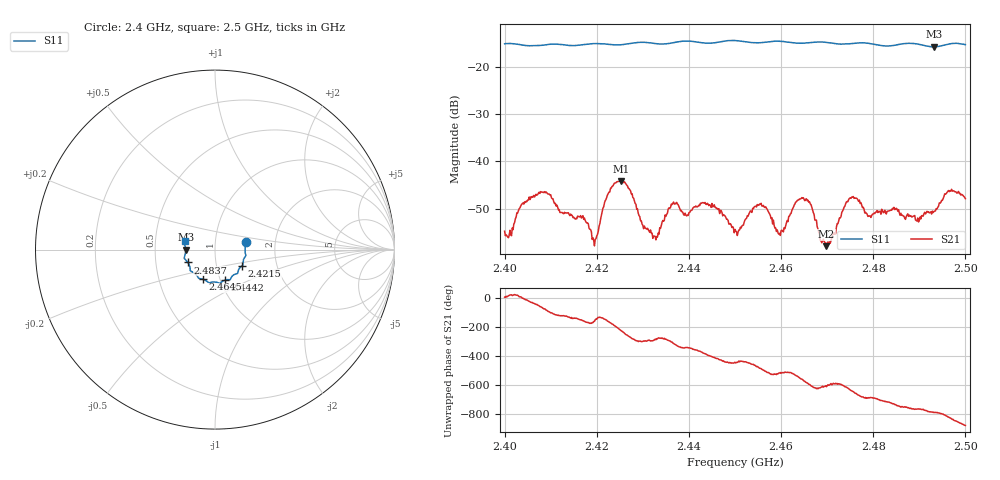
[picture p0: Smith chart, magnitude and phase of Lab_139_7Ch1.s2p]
# Hz S RI R 50
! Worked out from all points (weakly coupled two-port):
!   601 points, 2.4 GHz to 2.5 GHz, reference 50 ohm
!   highest |S21| = -44.14 dB at 2.4253 GHz (marker M1); lowest = -58.0 dB at 2.4698 GHz (marker M2)
!   lowest |S11| = -15.7 dB at 2.4932 GHz (marker M3), VSWR 1.39, Z = 35.9 - j0.0549 ohm
!   |S11| at or under -10 dB: start of sweep to end of sweep
!   S12 and S22 are empty: the file has one direction only
!   S11 on the Smith chart (normalised r, x): 2.4 GHz: 1.41, +0.12; 2.4215 GHz: 1.33, -0.25; 2.4442 GHz: 1.05, -0.37; 2.4645 GHz: 0.83, -0.29; 2.4837 GHz: 0.73, -0.11; 2.5 GHz: 0.71, +0.07
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2.4e9  0.1714 0.0402  0.0018 0.000272  0 0  0 0
2.407833e9  0.1683 -0.0192  0.00256 -0.00404  0 0  0 0
2.416667e9  0.1567 -0.0697  -0.00214 -0.00132  0 0  0 0
2.4195e9  0.1549 -0.0852  -0.00119 -0.000458  0 0  0 0
2.4215e9  0.1511 -0.0899  -0.00257 -0.00209  0 0  0 0
2.425333e9  0.1328 -0.1095  -0.0045 0.00428  0 0  0 0
2.430333e9  0.1255 -0.1327  0.000913 0.00185  0 0  0 0
2.433333e9  0.1084 -0.1383  0.000113 0.00174  0 0  0 0
2.436667e9  0.0895 -0.1576  0.00252 0.00272  0 0  0 0
2.444167e9  0.0565 -0.1693  0.00287 -0.00202  0 0  0 0
2.45e9  0.0251 -0.1891  0.000242 -0.00189  0 0  0 0
2.455333e9  -0.0109 -0.1802  -0.00198 -0.00293  0 0  0 0
2.46e9  -0.0357 -0.1836  -0.00173 -0.000663  0 0  0 0
2.4645e9  -0.0657 -0.1659  -0.0039 0.00139  0 0  0 0
2.466667e9  -0.0826 -0.1621  -0.00115 0.00308  0 0  0 0
2.469833e9  -0.0934 -0.1567  -0.000393 0.0012  0 0  0 0
2.475167e9  -0.1243 -0.1256  0.000597 0.00402  0 0  0 0
2.483333e9  -0.149 -0.075  0.00298 8.71e-05  0 0  0 0
2.483667e9  -0.151 -0.0717  0.00302 -9e-05  0 0  0 0
2.493167e9  -0.1635 -0.000744  0.00104 -0.00276  0 0  0 0
2.4965e9  -0.1723 0.0326  -0.00127 -0.00461  0 0  0 0
2.5e9  -0.1651 0.0504  -0.0038 -0.00132  0 0  0 0
